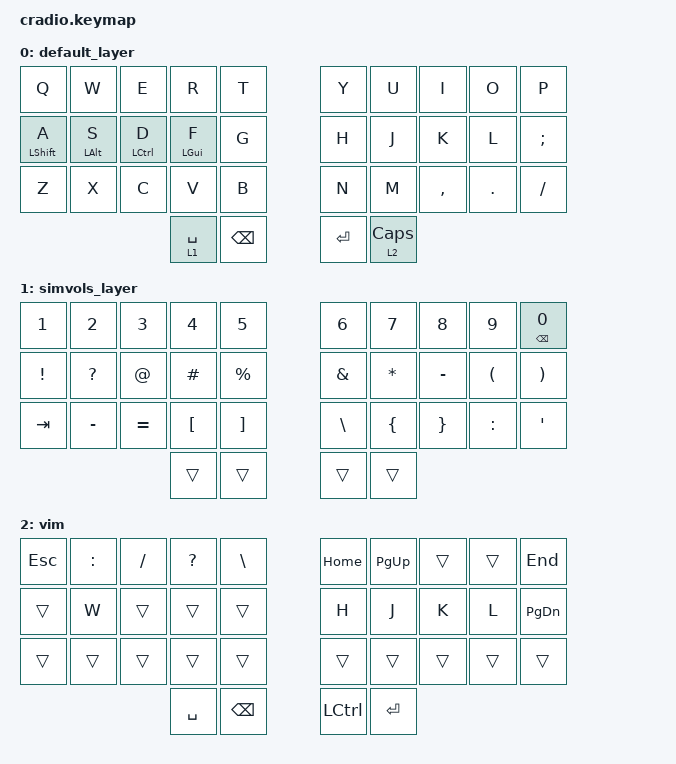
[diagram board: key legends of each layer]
// Copyright (c) 2022 The ZMK Contributors
// SPDX-License-Identifier: MIT

#include <behaviors.dtsi>
#include <dt-bindings/zmk/keys.h>

// Home row mods macro

#define HRML(k1,k2,k3,k4) &ht LSHFT k1  &ht LALT k2  &ht LCTRL k3  &ht LGUI k4
#define HRMR(k1,k2,k3,k4) &ht RGUI k1  &ht RCTRL k2  &ht RALT k3  &ht RSHFT k4

/ {
    behaviors {
        ht: hold_tap {
            compatible = "zmk,behavior-hold-tap";
            #binding-cells = <2>;
            flavor = "tap-preferred";
            tapping-term-ms = <220>;
            quick-tap-ms = <150>;
            require-prior-idle-ms = <100>;
            bindings = <&kp>, <&kp>;
        };
    };

    conditional_layers {
        compatible = "zmk,conditional-layers";

        tri_layer {
            if-layers = <1 2>;
            then-layer = <3>;
        };
    };

    combos {
        compatible = "zmk,combos";

        robot {
            bindings = <&robot>;
            key-positions = <1 2 3 4 31 32 5 6 7 8>;
            timeout-ms = <200>;
            require-prior-idle-ms = <200>;
        };

        russian_x {
            bindings = <&kp LEFT_BRACKET>;
            key-positions = <8 9>;
        };

        russian_e {
            bindings = <&kp SQT>;
            key-positions = <18 19>;
        };

        switch_to_english {
            bindings = <&sl 0>;
            key-positions = <10 11>;
        };

        change_language {
            bindings = <&change_language>;
            key-positions = <20 31>;
        };
    };

    macros {
        robot: robot {
            compatible = "zmk,behavior-macro";
            #binding-cells = <0>;
            bindings = <&kp FSLH &kp SPACE &kp LBKT &kp SPACE &kp CARET &kp MINUS &kp CARET &kp RBKT &kp UNDER &kp POUND &kp POUND>;
            label = "ROBOT";
        };

        change_language: change_language {
            compatible = "zmk,behavior-macro";
            #binding-cells = <0>;
            bindings = <&kp LA(LEFT_SHIFT) &tog 0>;
            label = "CHANGE_LANGUAGE";
        };
    };

    keymap {
        compatible = "zmk,keymap";

        default_layer {
            bindings = <
&kp Q         &kp W       &kp E        &kp R        &kp T            &kp Y      &kp U           &kp I      &kp O    &kp P
&ht LSHIFT A  &ht LALT S  &ht LCTRL D  &ht LGUI F   &kp G            &kp H      &kp J           &kp K      &kp L    &kp SEMICOLON
&kp Z         &kp X       &kp C        &kp V        &kp B            &kp N      &kp M           &kp COMMA  &kp DOT  &kp FSLH
                                       &lt 1 SPACE  &kp BACKSPACE    &kp ENTER  &lt 2 CAPSLOCK
            >;
        };

        simvols_layer {
            bindings = <
&kp NUMBER_1     &kp NUMBER_2  &kp NUMBER_3  &kp NUMBER_4      &kp N5               &kp NUMBER_6   &kp N7          &kp N8           &kp N9                &ht BACKSPACE N0
&kp EXCLAMATION  &kp QUESTION  &kp AT_SIGN   &kp POUND         &kp PERCENT          &kp AMPERSAND  &kp ASTERISK    &kp MINUS        &kp LEFT_PARENTHESIS  &kp RIGHT_PARENTHESIS
&kp TAB          &kp MINUS     &kp EQUAL     &kp LEFT_BRACKET  &kp RIGHT_BRACKET    &kp BACKSLASH  &kp LEFT_BRACE  &kp RIGHT_BRACE  &kp COLON             &kp APOSTROPHE
                                             &trans            &trans               &trans         &trans
            >;
        };

        vim {
            bindings = <
&kp ESCAPE  &kp COLON  &kp SLASH  &kp QUESTION  &kp BACKSLASH    &kp HOME   &kp PAGE_UP  &trans  &trans  &kp END
&trans      &kp W      &trans     &trans        &trans           &kp H      &kp J        &kp K   &kp L   &kp PAGE_DOWN
&trans      &trans     &trans     &trans        &trans           &trans     &trans       &trans  &trans  &trans
                                  &kp SPACE     &kp BACKSPACE    &kp LCTRL  &kp ENTER
            >;
        };
    };
};
